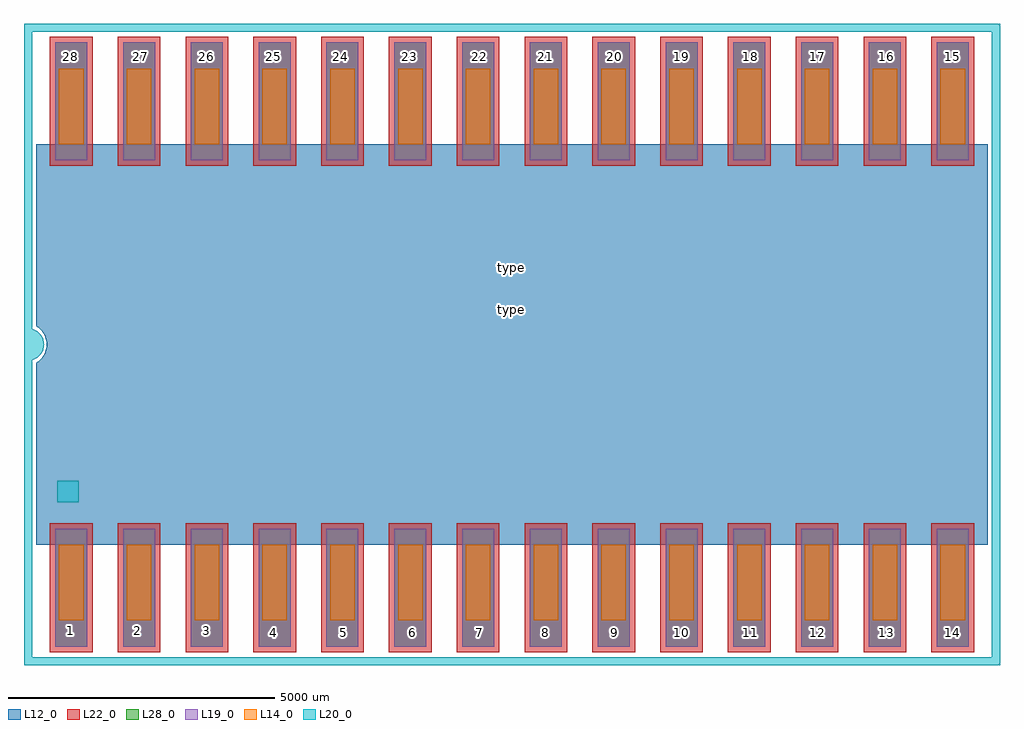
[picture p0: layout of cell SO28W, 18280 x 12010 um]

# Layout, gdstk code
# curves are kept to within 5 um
import gdstk
lib = gdstk.Library(unit=1e-6, precision=1e-09)
def R(c, l, rs):  # rectangles x0, y0, x1, y1
    for r in rs: c.add(gdstk.rectangle(r[:2], r[2:], *l))
def A(c, l, x, y, w, h, nx, ny, dx, dy):  # array of equal rectangles
    R(c, l, [(x+i*dx, y+j*dy, x+i*dx+w, y+j*dy+h) for i in range(nx) for j in range(ny)])
def P(c, l, *ps):  # polygons
    for p in ps: c.add(gdstk.Polygon(p, *l))
L12_0 = (12, 0)
L14_0 = (14, 0)
L19_0 = (19, 0)
L20_0 = (20, 0)
L22_0 = (22, 0)
L28_0 = (28, 0)

so28w = lib.new_cell('SO28W')
P(so28w, L12_0, [(17830.005,7500.005),(0,7500.005),(0,4096.413),(82.843,4032.846),(146.41,3950.003),(186.37,3853.531),(200,3750.003),(186.37,3646.475),(146.41,3550.003),(82.843,3467.16),(0,3403.593),(0,0),(17830.005,0)])
A(so28w, L14_0, 430, -1410, 460, 1410, 14, 2, 1270, 8910)
A(so28w, L19_0, 360, -1910, 600, 2210, 14, 2, 1270, 9110)
R(so28w, L20_0, [(400,800,800,1200)])
P(so28w, L20_0, [(-150,4050),(-150,3450),(-47.394,3468.092),(22.073,3504.254),(62.132,3537.868),(95.746,3577.927),(131.908,3647.394),(150,3750),(131.908,3852.606),(95.746,3922.073),(62.132,3962.132),(22.073,3995.746),(-47.394,4031.908)])
A(so28w, L22_0, 260, -2010, 800, 2410, 14, 2, 1270, 9110)
A(so28w, L28_0, 360, -1910, 600, 2210, 14, 2, 1270, 9110)
so28w.add(gdstk.FlexPath([(-150,9605),(-150,-2180),(17980,-2180),(17980,9680),(-225,9680)], 150, ends="flush", simple_path=True, layer=20, datatype=0))  # L20_0
so28w.add(gdstk.Label('13', (15920,-1650), layer=28, texttype=0))
so28w.add(gdstk.Label('14', (17170,-1650), layer=28, texttype=0))
so28w.add(gdstk.Label('15', (17170,9150), layer=28, texttype=0))
so28w.add(gdstk.Label('16', (15920,9150), layer=28, texttype=0))
so28w.add(gdstk.Label('18', (13380,9150), layer=28, texttype=0))
so28w.add(gdstk.Label('17', (14630,9150), layer=28, texttype=0))
so28w.add(gdstk.Label('12', (14630,-1650), layer=28, texttype=0))
so28w.add(gdstk.Label('11', (13380,-1650), layer=28, texttype=0))
so28w.add(gdstk.Label('9', (10840,-1650), layer=28, texttype=0))
so28w.add(gdstk.Label('10', (12090,-1650), layer=28, texttype=0))
so28w.add(gdstk.Label('19', (12090,9150), layer=28, texttype=0))
so28w.add(gdstk.Label('20', (10840,9150), layer=28, texttype=0))
so28w.add(gdstk.Label('28', (650,9150), layer=28, texttype=0))
so28w.add(gdstk.Label('27', (1950,9150), layer=28, texttype=0))
so28w.add(gdstk.Label('26', (3200,9150), layer=28, texttype=0))
so28w.add(gdstk.Label('25', (4450,9150), layer=28, texttype=0))
so28w.add(gdstk.Label('24', (5700,9150), layer=28, texttype=0))
so28w.add(gdstk.Label('23', (7000,9150), layer=28, texttype=0))
so28w.add(gdstk.Label('22', (8300,9150), layer=28, texttype=0))
so28w.add(gdstk.Label('21', (9550,9150), layer=28, texttype=0))
so28w.add(gdstk.Label('8', (9550,-1650), layer=28, texttype=0))
so28w.add(gdstk.Label('7', (8300,-1650), layer=28, texttype=0))
so28w.add(gdstk.Label('6', (7050,-1650), layer=28, texttype=0))
so28w.add(gdstk.Label('5', (5750,-1650), layer=28, texttype=0))
so28w.add(gdstk.Label('4', (4450,-1650), layer=28, texttype=0))
so28w.add(gdstk.Label('3', (3200,-1600), layer=28, texttype=0))
so28w.add(gdstk.Label('2', (1900,-1600), layer=28, texttype=0))
so28w.add(gdstk.Label('1', (650,-1600), layer=28, texttype=0))
so28w.add(gdstk.Label('type', (8900,4400), layer=10, texttype=0))
so28w.add(gdstk.Label('type', (8900,5200), layer=20, texttype=0))
so28w.add(gdstk.Label('devicename', (-700,4200), layer=20, texttype=0))

lib.write_gds('SO28W.gds')
